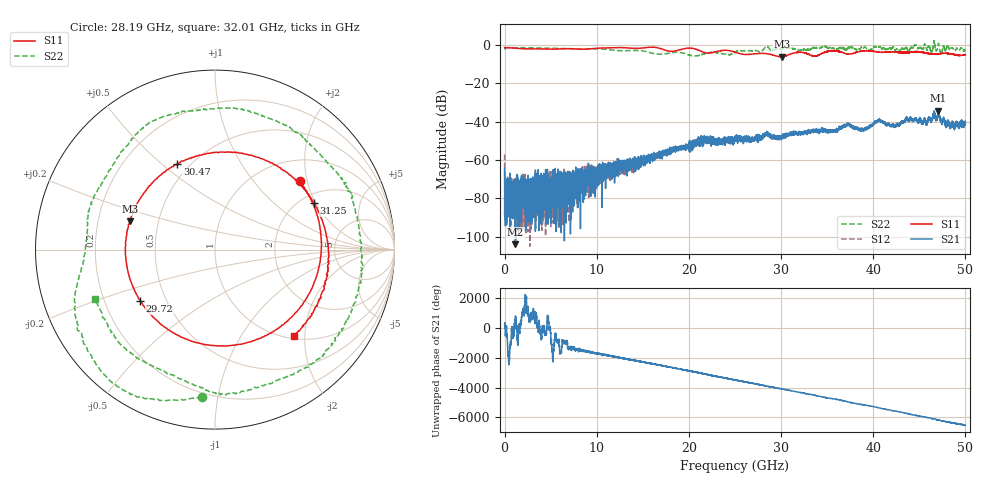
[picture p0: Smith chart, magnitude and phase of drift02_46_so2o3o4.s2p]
!Created with skrf (http://scikit-rf.org).
# Hz S RI R 50.0
!freq ReS11 ImS11 ReS21 ImS21 ReS12 ImS12 ReS22 ImS22
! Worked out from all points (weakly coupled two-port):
!   10001 points, 300 kHz to 50 GHz, reference 50 ohm
!   highest |S21| = -34.23 dB at 47.08 GHz (marker M1); lowest = -104.1 dB at 1.18 GHz (marker M2)
!   lowest |S11| = -6.1 dB at 30.11 GHz (marker M3), VSWR 2.98, Z = 17.2 + j7.2 ohm
!   |S11| at or under -10 dB: nowhere
!   |S22| runs from -5.7 to 2.4 dB; largest |S21 - S12| = 0.0033
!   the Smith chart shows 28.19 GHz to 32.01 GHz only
!   S11 on the Smith chart (normalised r, x): 28.19 GHz: 1.50, +1.80; 29.72 GHz: 0.36, -0.27; 30.47 GHz: 0.43, +0.56; 31.25 GHz: 2.34, +1.94; 32.01 GHz: 1.05, -1.76
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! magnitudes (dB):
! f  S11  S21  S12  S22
! 300 kHz  -1.3  -64.5  -57.1  -2.1
! 255.3 MHz  -1.4  -77.8  -75.3  -1.4
! 1.18 GHz  -1.6  -104.1  -80.7  -1.4
! 4.065 GHz  -2.0  -80.8  -74.2  -1.6
! 8.335 GHz  -2.2  -71.9  -71.1  -1.9
! 16.67 GHz  -1.5  -56.4  -57.1  -4.7
! 21.58 GHz  -3.7  -49.1  -51.2  -4.7
! 25 GHz  -3.7  -49.1  -50.5  -3.9
! 28.19 GHz  -4.3  -46.8  -46.7  -1.7
! 29.72 GHz  -5.9  -49.0  -48.1  -2.1
! 30.11 GHz  -6.1  -47.7  -48.1  -2.0
! 30.47 GHz  -5.7  -46.9  -47.4  -1.8
! 31.25 GHz  -4.3  -45.7  -46.2  -1.8
! 32.01 GHz  -3.7  -46.3  -46.1  -2.8
! 33.34 GHz  -5.5  -45.2  -45.6  -1.5
! 37.28 GHz  -4.7  -41.0  -41.5  -1.3
! 38.83 GHz  -3.1  -44.0  -44.0  -1.2
! 40.64 GHz  -3.7  -39.3  -39.0  -0.9
! 41.67 GHz  -3.6  -41.6  -41.2  -1.9
! 47.08 GHz  -4.6  -34.2  -34.7  0.8
! 48.56 GHz  -4.7  -41.5  -40.3  -1.6
! 50 GHz  -4.9  -39.8  -40.7  -2.6
